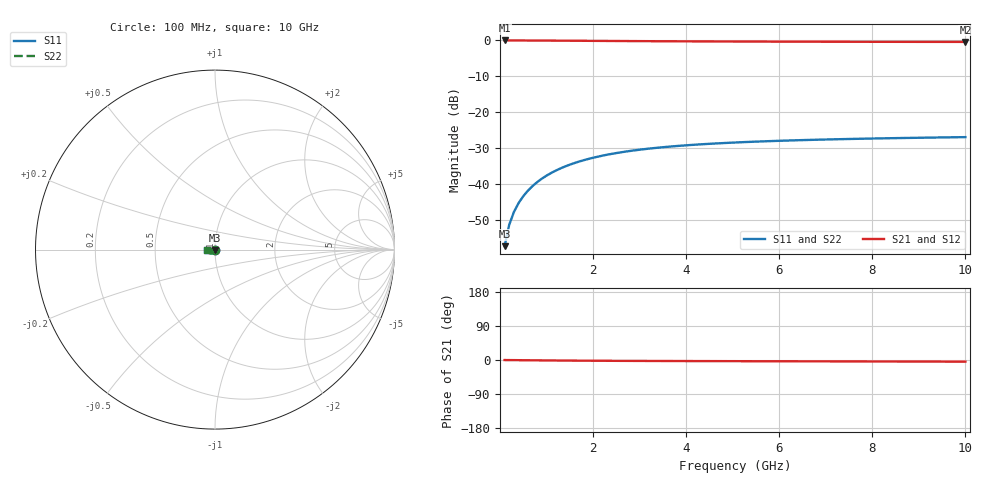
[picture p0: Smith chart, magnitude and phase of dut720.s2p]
! Touchstone file exported from HFSS 2024.1.0
!  File:  C:/UserFiles/LocalFiles/RDL_TSV_Batchsim/temp_TSV1_720_1779868278.aedt
!  Generated:  03:56:40 PM May 27, 2026
!  Design:  TSV1
!  Project:  temp_TSV1_720_1779868278
!  Setup:  Setup1
!  Solution:  Sweep
! Variables:
!  dtsv = 13.75um
!  hbump = 3um
!  htsv = 65.03um
!  lrdl = 252.1521522um
!  p = 40
!  p1 = 55.29um
!  t = 500um
!  trdl = 3um
!  wrdl = 24.89489489um
# GHz S MA R 50.000000
! Terminal data exported
! Port[1] = TSV22_T1
! Port[2] = TSV22_T2
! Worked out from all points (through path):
!   100 points, 100 MHz to 10 GHz, reference 50 ohm
!   highest |S21| = 0.00 dB at 100 MHz (marker M1); lowest = -0.4 dB at 10 GHz (marker M2)
!   lowest |S11| = -57.3 dB at 100 MHz (marker M3), VSWR 1.00, Z = 50 - j0.136 ohm
!   |S11| at or under -10 dB: start of sweep to end of sweep
!   |S22| runs from -57.3 to -26.9 dB; largest |S21 - S12| = 1e-14
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0.1  0.001359 -88.8  0.9999 -0.1  0.9999 -0.1  0.001359 -88.8
! Gamma 0 0 0 0
! Port Impedance 50 0 50 0
0.2  0.002716 -92.1  0.9997 -0.2  0.9997 -0.2  0.002716 -92.1
0.3  0.00407 -94.4  0.9995 -0.4  0.9995 -0.4  0.00407 -94.4
0.4  0.005417 -96.5  0.9992 -0.5  0.9992 -0.5  0.005417 -96.5
0.5  0.006749 -98.6  0.9987 -0.6  0.9987 -0.6  0.006749 -98.6
0.6  0.008062 -100.5  0.9983 -0.7  0.9983 -0.7  0.008062 -100.5
0.7  0.009353 -102.5  0.9977 -0.8  0.9977 -0.8  0.009353 -102.5
0.8  0.01062 -104.3  0.9971 -0.9  0.9971 -0.9  0.01062 -104.3
0.9  0.01185 -106.2  0.9964 -1.0  0.9964 -1.0  0.01185 -106.2
1.1  0.01423 -109.7  0.9949 -1.2  0.9949 -1.2  0.01423 -109.7
1.4  0.01754 -114.8  0.9924 -1.5  0.9924 -1.5  0.01754 -114.8
1.6  0.01956 -117.9  0.9906 -1.6  0.9906 -1.6  0.01956 -117.9
1.8  0.02144 -120.9  0.9888 -1.8  0.9888 -1.8  0.02144 -120.9
2.1  0.024 -125.1  0.9861 -2.0  0.9861 -2.0  0.024 -125.1
2.5  0.02695 -130.2  0.9825 -2.2  0.9825 -2.2  0.02695 -130.2
2.9  0.02946 -134.7  0.9792 -2.4  0.9792 -2.4  0.02946 -134.7
3.4  0.03205 -139.6  0.9755 -2.6  0.9755 -2.6  0.03205 -139.6
4.2  0.03528 -146.3  0.9705 -2.9  0.9705 -2.9  0.03528 -146.3
5.1  0.03795 -152.5  0.9662 -3.1  0.9662 -3.1  0.03795 -152.5
6.7  0.04119 -161.1  0.9607 -3.5  0.9607 -3.5  0.04119 -161.1
8.4  0.04343 -168.1  0.9569 -4.0  0.9569 -4.0  0.04344 -168.1
10  0.04495 -173.6  0.9544 -4.4  0.9544 -4.4  0.04495 -173.6
